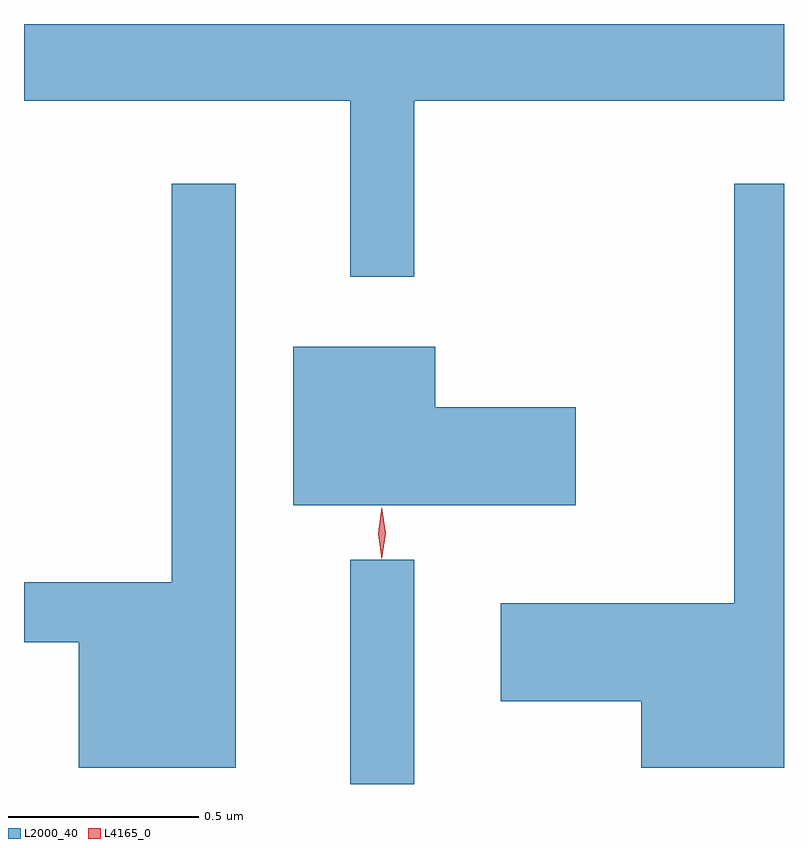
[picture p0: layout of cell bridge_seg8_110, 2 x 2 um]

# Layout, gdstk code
import gdstk
lib = gdstk.Library(unit=1e-6, precision=1e-09)
def R(c, l, rs):  # rectangles x0, y0, x1, y1
    for r in rs: c.add(gdstk.rectangle(r[:2], r[2:], *l))
def P(c, l, *ps):  # polygons
    for p in ps: c.add(gdstk.Polygon(p, *l))
L2000_40 = (2000, 40)
L4165_0 = (4165, 0)

bridge_seg8_110 = lib.new_cell('bridge_seg8_110')
R(bridge_seg8_110, L2000_40, [(1455.141,1870.138,1455.309,1870.728)])
P(bridge_seg8_110, L2000_40, [(1455.309,1871.936),(1456.282,1871.936),(1456.282,1872.138),(1454.282,1872.138),(1454.282,1871.936),(1455.141,1871.936),(1455.141,1871.473),(1455.309,1871.473)],
  [(1456.282,1871.718),(1456.151,1871.718),(1456.151,1870.614),(1455.536,1870.614),(1455.536,1870.356),(1455.906,1870.356),(1455.906,1870.181),(1456.282,1870.181)],
  [(1454.839,1871.718),(1454.671,1871.718),(1454.671,1870.669),(1454.282,1870.669),(1454.282,1870.511),(1454.426,1870.511),(1454.426,1870.181),(1454.839,1870.181)],
  [(1455.734,1871.129),(1455.364,1871.129),(1455.364,1871.289),(1454.991,1871.289),(1454.991,1870.871),(1455.734,1870.871)])
P(bridge_seg8_110, L4165_0, [(1455.224,1870.73),(1455.224,1870.73),(1455.214,1870.798),(1455.223,1870.866),(1455.223,1870.866),(1455.224,1870.866),(1455.234,1870.798),(1455.224,1870.73)],
  [(1455.224,1870.733),(1455.224,1870.733),(1455.214,1870.796),(1455.223,1870.859),(1455.223,1870.859),(1455.224,1870.859),(1455.234,1870.796),(1455.224,1870.733)])

lib.write_gds('bridge_seg8_110.gds')
